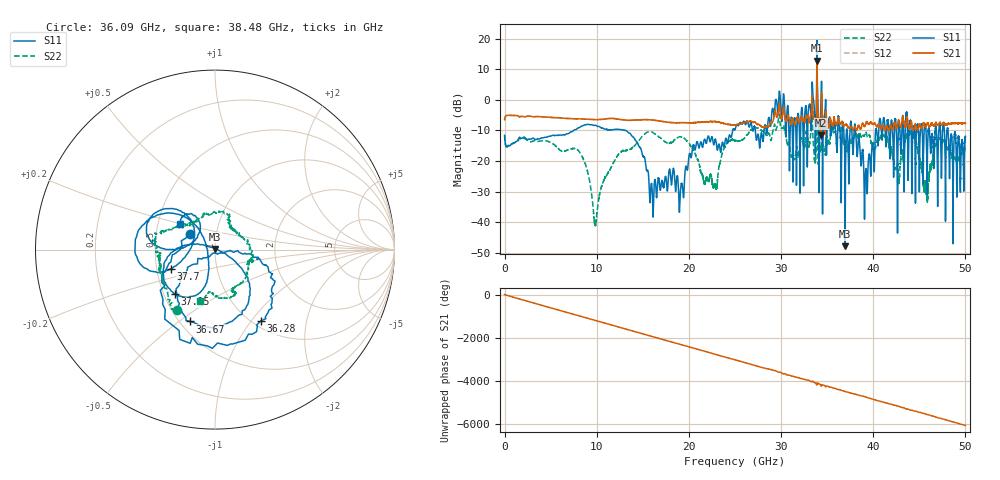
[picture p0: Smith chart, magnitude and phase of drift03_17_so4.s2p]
!Created with skrf (http://scikit-rf.org).
# Hz S RI R 50.0
!freq ReS11 ImS11 ReS21 ImS21 ReS12 ImS12 ReS22 ImS22
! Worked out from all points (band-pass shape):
!   10001 points, 300 kHz to 50 GHz, reference 50 ohm
!   highest |S21| = 12.83 dB at 33.9 GHz (marker M1); lowest = -11.5 dB at 34.32 GHz (marker M2)
!   |S21| within 3 dB of the highest: 33.89022 GHz to 33.90604 GHz (15.81 MHz wide, 0.0467 % of centre)
!   lowest |S11| = -47.9 dB at 36.96 GHz (marker M3), VSWR 1.01, Z = 50.2 + j0.353 ohm
!   |S11| at or under -10 dB: start of sweep to 7.488 GHz; 13.13 GHz to 24.74 GHz (11.61 GHz wide, 61.3 % of centre); 38.09 GHz to 40.26 GHz (2.17 GHz wide, 5.54 % of centre) (the widest 3 of 48)
!   |S22| runs from -41.4 to 5.2 dB; largest |S21 - S12| = 0.32
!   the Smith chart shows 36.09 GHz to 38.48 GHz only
!   S11 on the Smith chart (normalised r, x): 36.09 GHz: 0.75, +0.13; 36.28 GHz: 1.09, -1.11; 36.67 GHz: 0.56, -0.55; 37.15 GHz: 0.57, -0.32; 37.7 GHz: 0.59, -0.14; 38.48 GHz: 0.65, +0.19
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300000  -0.2357 -0.1174  0.467 0.0773  0.4641 0.0786  -0.2343 -0.123
1.440291e9  0.2099 0.0645  -0.5476 -0.0292  -0.5483 -0.0288  0.211 -0.00449
2.915283e9  -0.2122 -0.0881  0.5342 0.0512  0.5348 0.0512  -0.2028 0.0402
8.33525e9  0.2885 -0.2338  0.1469 0.4655  0.1466 0.4661  -0.0733 -0.1006
9.850241e9  -0.3623 0.1322  -0.1529 -0.4506  -0.1534 -0.4506  0.00842 0.00244
1.66702e10  0.0275 0.0443  -0.3781 0.2548  -0.3784 0.254  -0.1264 -0.2187
2.500015e10  -0.326 -0.015  -0.2562 -0.296  -0.2543 -0.2976  -0.2132 0.0279
2.895513e10  -0.324 0.4308  -0.2878 0.3254  -0.297 0.2914  0.0656 0.2204
3.006512e10  0.3995 0.2647  0.4488 -0.1973  0.4517 -0.1831  0.172 -0.2986
3.171011e10  -0.0921 0.1884  -0.3585 0.3593  -0.362 0.3544  0.0647 0.1588
3.33351e10  0.5753 -0.8092  0.2361 -0.825  0.2378 -0.8077  -0.1906 -0.4105
3.38951e10  -2.268 -9.119  -4.322 0.7173  -4.05 0.8789  0.4594 1.768
3.432009e10  -0.781 0.0024  -0.179 0.196  -0.2399 0.1761  0.1426 -0.0703
3.608508e10  -0.1378 0.0843  0.2595 -0.3236  0.2684 -0.3185  -0.2136 -0.3359
3.628008e10  0.254 -0.3985  0.1545 -0.4114  0.1569 -0.3977  -0.3006 -0.1381
3.666508e10  -0.138 -0.4004  -0.2312 -0.3632  -0.2421 -0.3783  -0.2352 0.111
3.696008e10  0.00198 0.00352  -0.3697 -0.1137  -0.3687 -0.1156  -0.00452 0.2119
3.715008e10  -0.2242 -0.248  -0.3874 -0.00583  -0.3821 -0.00633  0.0925 0.1286
3.769507e10  -0.2471 -0.1078  -0.1635 0.309  -0.163 0.2968  0.1876 -0.1038
3.847507e10  -0.1955 0.1408  0.2921 0.2157  0.3076 0.2232  -0.0826 -0.2853
4.167005e10  -0.1943 0.3037  0.3123 0.0047  0.314 0.0102  -0.1901 -0.00548
5e10  -0.1229 -0.2136  0.1458 0.3864  0.1453 0.3818  -0.055 -0.1461
